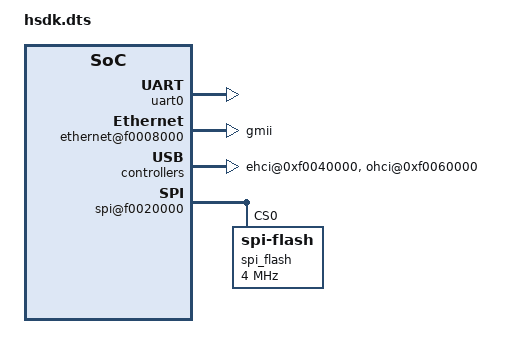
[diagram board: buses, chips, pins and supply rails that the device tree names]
/*
 * Copyright (C) 2017 Synopsys, Inc. All rights reserved.
 *
 * SPDX-License-Identifier:	GPL-2.0+
 */
/dts-v1/;

#include "skeleton.dtsi"

/ {
	#address-cells = <1>;
	#size-cells = <1>;

	aliases {
		console = &uart0;
		spi0 = "/spi@f0020000";
	};

	cpu_card {
		core_clk: core_clk {
			#clock-cells = <0>;
			compatible = "fixed-clock";
			clock-frequency = <1000000000>;
			u-boot,dm-pre-reloc;
		};
	};

	clk-fmeas {
		clocks = <&cgu_clk 0>, <&cgu_clk 3>, <&cgu_clk 20>, <&cgu_clk 2>,
			 <&cgu_clk 1>, <&cgu_clk 22>, <&cgu_clk 21>, <&cgu_clk 23>,
			 <&cgu_clk 4>, <&cgu_clk 5>, <&cgu_clk 6>, <&cgu_clk 7>,
			 <&cgu_clk 8>, <&cgu_clk 9>, <&cgu_clk 10>, <&cgu_clk 11>,
			 <&cgu_clk 12>, <&cgu_clk 13>, <&cgu_clk 14>, <&cgu_clk 15>,
			 <&cgu_clk 16>, <&cgu_clk 17>, <&cgu_clk 18>, <&cgu_clk 19>,
			 <&cgu_clk 24>, <&cgu_clk 25>;
		clock-names = "cpu-pll", "sys-pll", "tun-pll", "ddr-clk",
			      "cpu-clk", "hdmi-pll", "tun-clk", "hdmi-clk",
			      "apb-clk", "axi-clk", "eth-clk", "usb-clk",
			      "sdio-clk", "hdmi-sys-clk", "gfx-core-clk", "gfx-dma-clk",
			      "gfx-cfg-clk", "dmac-core-clk", "dmac-cfg-clk", "sdio-ref-clk",
			      "spi-clk", "i2c-clk", "uart-clk", "ebi-clk",
			      "rom-clk", "pwm-clk";
	};

	cgu_clk: cgu-clk@f0000000 {
		compatible = "snps,hsdk-cgu-clock";
		reg = <0xf0000000 0x10>, <0xf00014B8 0x4>;
		#clock-cells = <1>;
	};

	periph_clk: periph_clk {
		#clock-cells = <0>;
		compatible = "fixed-clock";
		clock-frequency = <33330000>;
		u-boot,dm-pre-reloc;
	};

	uart0: serial0@f0005000 {
		compatible = "snps,dw-apb-uart";
		reg = <0xf0005000 0x1000>;
		reg-shift = <2>;
		reg-io-width = <4>;
	};

	ethernet@f0008000 {
		#interrupt-cells = <1>;
		compatible = "altr,socfpga-stmmac";
		reg = <0xf0008000 0x2000>;
		phy-mode = "gmii";
	};

	ehci@0xf0040000 {
		compatible = "generic-ehci";
		reg = <0xf0040000 0x100>;
	};

	ohci@0xf0060000 {
		compatible = "generic-ohci";
		reg = <0xf0060000 0x100>;
	};

	spi@f0020000 {
		compatible = "snps,dw-apb-ssi";
		reg = <0xf0020000 0x1000>;
		#address-cells = <1>;
		#size-cells = <0>;
		spi-max-frequency = <4000000>;
		clocks = <&periph_clk>;
		clock-names = "spi_clk";
		cs-gpio = <&cs_gpio 0>;
		spi_flash@0 {
			compatible = "spi-flash";
			reg = <0>;
			spi-max-frequency = <4000000>;
		};
	};

	cs_gpio: gpio@f00114B0 {
		u-boot,dm-pre-reloc;
		compatible = "snps,hsdk-creg-gpio";
		reg = <0xf00014B0 0x4>;
		gpio-controller;
		#gpio-cells = <1>;
		gpio-bank-name = "hsdk-spi-cs";
		gpio-count = <1>;
	};
};
